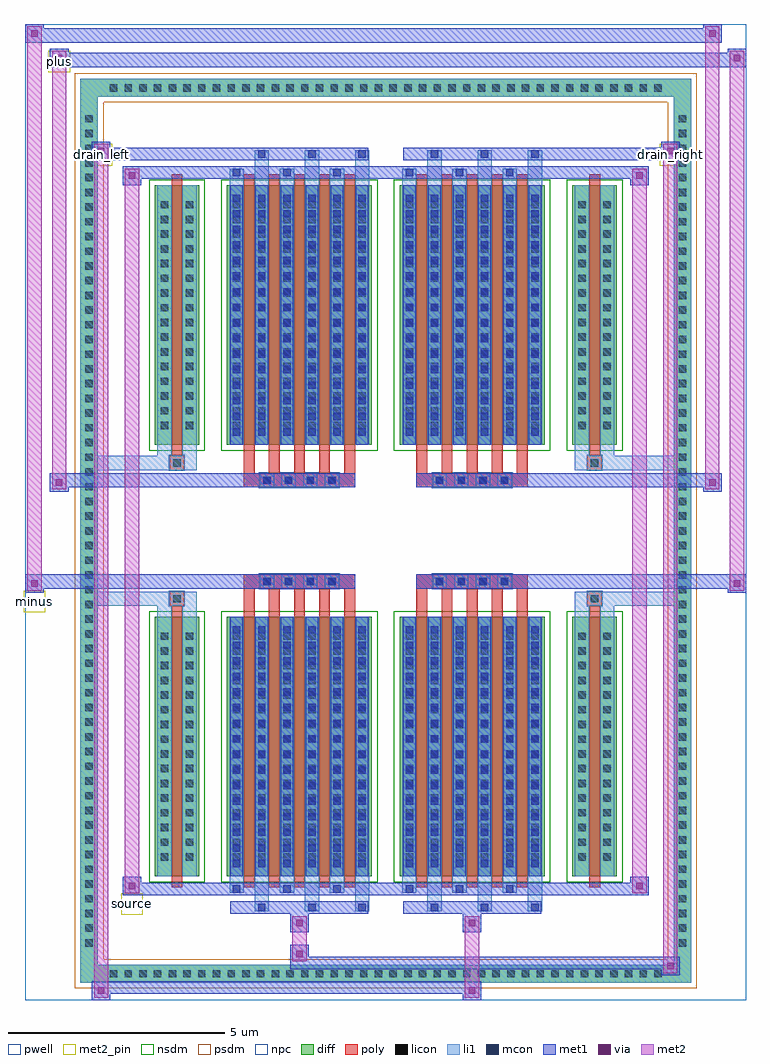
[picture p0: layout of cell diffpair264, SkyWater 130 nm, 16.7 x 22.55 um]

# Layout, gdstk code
import gdstk
lib = gdstk.Library(unit=1e-6, precision=5e-09)
def R(c, l, rs):  # rectangles x0, y0, x1, y1
    for r in rs: c.add(gdstk.rectangle(r[:2], r[2:], *l))
def A(c, l, x, y, w, h, nx, ny, dx, dy):  # array of equal rectangles
    R(c, l, [(x+i*dx, y+j*dy, x+i*dx+w, y+j*dy+h) for i in range(nx) for j in range(ny)])
def P(c, l, *ps):  # polygons
    for p in ps: c.add(gdstk.Polygon(p, *l))
pwell = (64, 44)
diff = (65, 20)
poly = (66, 20)
licon = (66, 44)
li1 = (67, 20)
mcon = (67, 44)
met1 = (68, 20)
via = (68, 44)
met2_pin = (69, 16)
met2 = (69, 20)
nsdm = (93, 44)
psdm = (94, 20)
npc = (95, 20)

diffpair264 = lib.new_cell('diffpair264')
R(diffpair264, pwell, [(-8.33,-10.84,8.33,11.71), (-5.65,-9.03,-0.01,-0.805), (0.01,-9.03,5.65,-0.805), (-5.65,0.805,-0.01,9.03), (0.01,0.805,5.65,9.03)])
A(diffpair264, diff, -6.495, -10.44, 0.41, 0.41, 38, 2, 0.34, 20.47)
A(diffpair264, diff, -7.06, -9.725, 0.41, 0.41, 1, 57, 0, 0.34)
A(diffpair264, diff, 6.65, -9.725, 0.41, 0.41, 1, 57, 0, 0.34)
R(diffpair264, diff, [(-6.495,-10.44,6.495,-10.03), (-7.06,-9.725,-6.65,9.725), (6.65,-9.725,7.06,9.725), (-5.34,-7.985,-4.31,-1.985), (-3.67,-7.985,-0.32,-1.985), (0.32,-7.985,3.67,-1.985), (4.31,-7.985,5.34,-1.985), (-5.34,1.985,-4.31,7.985), (-3.67,1.985,-0.32,7.985), (0.32,1.985,3.67,7.985), (4.31,1.985,5.34,7.985), (-6.495,10.03,6.495,10.44)])
P(diffpair264, diff, [(7.06,10.44),(-7.06,10.44),(-7.06,-10.03),(-6.65,-10.03),(-6.65,10.03),(6.65,10.03),(6.65,-10.03),(-6.65,-10.03),(-7.06,-10.03),(-7.06,-10.44),(7.06,-10.44)])
A(diffpair264, poly, -3.28, -8.235, 0.25, 6.5, 5, 2, 0.58, 9.97)
A(diffpair264, poly, 0.71, -8.235, 0.25, 6.5, 5, 2, 0.58, 9.97)
A(diffpair264, poly, -3.28, -1.735, 0.25, 0.4, 5, 2, 0.58, 3.07)
A(diffpair264, poly, 0.71, -1.735, 0.25, 0.4, 5, 2, 0.58, 3.07)
A(diffpair264, poly, -2.91, -1.335, 0.33, 0.33, 4, 2, 0.5, 2.34)
A(diffpair264, poly, 1.08, -1.335, 0.33, 0.33, 4, 2, 0.5, 2.34)
R(diffpair264, poly, [(-4.95,-8.235,-4.7,-1.735), (4.7,-8.235,4.95,-1.735), (-4.99,-1.735,-4.66,-1.405), (-4.99,-1.735,-4.66,-1.405), (4.66,-1.735,4.99,-1.405), (4.66,-1.735,4.99,-1.405), (-3.28,-1.335,-0.71,-1.005), (0.71,-1.335,3.28,-1.005), (-3.28,1.005,-0.71,1.335), (0.71,1.005,3.28,1.335), (-4.99,1.405,-4.66,1.735), (-4.99,1.405,-4.66,1.735), (4.66,1.405,4.99,1.735), (4.66,1.405,4.99,1.735), (-4.95,1.735,-4.7,8.235), (4.7,1.735,4.95,8.235)])
A(diffpair264, licon, -6.375, -10.32, 0.17, 0.17, 38, 2, 0.34, 20.47)
A(diffpair264, licon, -6.94, -9.605, 0.17, 0.17, 1, 57, 0, 0.34)
A(diffpair264, licon, 6.77, -9.605, 0.17, 0.17, 1, 57, 0, 0.34)
A(diffpair264, licon, -5.2, -7.62, 0.17, 0.17, 1, 16, 0, 0.34)
A(diffpair264, licon, -4.62, -7.62, 0.17, 0.17, 1, 16, 0, 0.34)
A(diffpair264, licon, -3.53, -7.62, 0.17, 0.17, 6, 16, 0.58, 0.34)
A(diffpair264, licon, 0.46, -7.62, 0.17, 0.17, 6, 16, 0.58, 0.34)
A(diffpair264, licon, 4.45, -7.62, 0.17, 0.17, 1, 16, 0, 0.34)
A(diffpair264, licon, 5.03, -7.62, 0.17, 0.17, 1, 16, 0, 0.34)
A(diffpair264, licon, -2.83, -1.255, 0.17, 0.17, 4, 2, 0.5, 2.34)
A(diffpair264, licon, 1.16, -1.255, 0.17, 0.17, 4, 2, 0.5, 2.34)
A(diffpair264, licon, -5.2, 2.35, 0.17, 0.17, 1, 16, 0, 0.34)
A(diffpair264, licon, -4.62, 2.35, 0.17, 0.17, 1, 16, 0, 0.34)
A(diffpair264, licon, -3.53, 2.35, 0.17, 0.17, 6, 16, 0.58, 0.34)
A(diffpair264, licon, 0.46, 2.35, 0.17, 0.17, 6, 16, 0.58, 0.34)
A(diffpair264, licon, 4.45, 2.35, 0.17, 0.17, 1, 16, 0, 0.34)
A(diffpair264, licon, 5.03, 2.35, 0.17, 0.17, 1, 16, 0, 0.34)
R(diffpair264, licon, [(-4.91,-1.655,-4.74,-1.485), (4.74,-1.655,4.91,-1.485), (-4.91,1.485,-4.74,1.655), (4.74,1.485,4.91,1.655)])
A(diffpair264, li1, -6.455, -10.4, 0.33, 0.33, 38, 2, 0.34, 20.47)
A(diffpair264, li1, -7.02, -9.685, 0.33, 0.33, 1, 57, 0, 0.34)
A(diffpair264, li1, 6.69, -9.685, 0.33, 0.33, 1, 57, 0, 0.34)
A(diffpair264, li1, -3.03, -8.79, 0.33, 0.805, 3, 2, 1.16, 16.775)
A(diffpair264, li1, -2.95, -8.79, 0.17, 0.17, 3, 2, 1.16, 17.41)
A(diffpair264, li1, 0.96, -8.79, 0.33, 0.805, 3, 2, 1.16, 16.775)
A(diffpair264, li1, 1.04, -8.79, 0.17, 0.17, 3, 2, 1.16, 17.41)
A(diffpair264, li1, -3.61, -8.36, 0.33, 0.375, 3, 2, 1.16, 16.345)
A(diffpair264, li1, -3.53, -8.36, 0.17, 0.17, 3, 2, 1.16, 16.55)
A(diffpair264, li1, 0.38, -8.36, 0.33, 0.375, 3, 2, 1.16, 16.345)
A(diffpair264, li1, 0.46, -8.36, 0.17, 0.17, 3, 2, 1.16, 16.55)
A(diffpair264, li1, -3.61, -7.985, 0.33, 6, 6, 2, 0.58, 9.97)
A(diffpair264, li1, 0.38, -7.985, 0.33, 6, 6, 2, 0.58, 9.97)
A(diffpair264, li1, -3.53, -7.77, 0.17, 0.17, 6, 16, 0.58, 0.36)
A(diffpair264, li1, -3.53, -7.77, 0.17, 5.57, 6, 2, 0.58, 9.97)
A(diffpair264, li1, 0.46, -7.77, 0.17, 0.17, 6, 16, 0.58, 0.36)
A(diffpair264, li1, 0.46, -7.77, 0.17, 5.57, 6, 2, 0.58, 9.97)
A(diffpair264, li1, -5.28, -7.7, 0.33, 0.33, 1, 16, 0, 0.34)
A(diffpair264, li1, -4.7, -7.7, 0.33, 0.33, 1, 16, 0, 0.34)
A(diffpair264, li1, -3.61, -7.7, 0.33, 0.33, 6, 16, 0.58, 0.34)
A(diffpair264, li1, 0.38, -7.7, 0.33, 0.33, 6, 16, 0.58, 0.34)
A(diffpair264, li1, 4.37, -7.7, 0.33, 0.33, 1, 16, 0, 0.34)
A(diffpair264, li1, 4.95, -7.7, 0.33, 0.33, 1, 16, 0, 0.34)
A(diffpair264, li1, -2.91, -1.335, 0.33, 0.33, 4, 2, 0.5, 2.34)
A(diffpair264, li1, 1.08, -1.335, 0.33, 0.33, 4, 2, 0.5, 2.34)
A(diffpair264, li1, -3.53, 2.2, 0.17, 0.17, 6, 16, 0.58, 0.36)
A(diffpair264, li1, 0.46, 2.2, 0.17, 0.17, 6, 16, 0.58, 0.36)
A(diffpair264, li1, -5.28, 2.27, 0.33, 0.33, 1, 16, 0, 0.34)
A(diffpair264, li1, -4.7, 2.27, 0.33, 0.33, 1, 16, 0, 0.34)
A(diffpair264, li1, -3.61, 2.27, 0.33, 0.33, 6, 16, 0.58, 0.34)
A(diffpair264, li1, 0.38, 2.27, 0.33, 0.33, 6, 16, 0.58, 0.34)
A(diffpair264, li1, 4.37, 2.27, 0.33, 0.33, 1, 16, 0, 0.34)
A(diffpair264, li1, 4.95, 2.27, 0.33, 0.33, 1, 16, 0, 0.34)
R(diffpair264, li1, [(-7.06,-10.44,-6.65,-10.03), (-7.06,-10.44,-6.65,-10.03), (-6.65,-10.44,6.65,-10.03), (6.65,-10.44,7.06,-10.03), (6.65,-10.44,7.06,-10.03), (-7.06,-10.03,-6.65,10.03), (6.65,-10.03,7.06,10.03), (-5.28,-7.985,-4.95,-1.985), (-4.7,-7.985,-4.37,-1.985), (4.37,-7.985,4.7,-1.985), (4.95,-7.985,5.28,-1.985), (-5.28,-1.985,-4.95,-1.405), (-4.7,-1.985,-4.37,-1.405), (4.37,-1.985,4.7,-1.405), (4.95,-1.985,5.28,-1.405), (-7.06,-1.735,-4.99,-1.405), (-5.28,-1.735,-4.99,-1.405), (-4.99,-1.735,-4.66,-1.405), (-4.66,-1.735,-4.37,-1.405), (4.37,-1.735,4.66,-1.405), (4.66,-1.735,4.99,-1.405), (4.66,-1.735,7.06,-1.405), (4.99,-1.735,5.28,-1.405), (-7.06,1.405,-4.99,1.735), (-5.28,1.405,-4.99,1.735), (-5.28,1.405,-4.95,1.985), (-4.99,1.405,-4.66,1.735), (-4.7,1.405,-4.37,1.985), (-4.66,1.405,-4.37,1.735), (4.37,1.405,4.66,1.735), (4.37,1.405,4.7,1.985), (4.66,1.405,4.99,1.735), (4.66,1.405,7.06,1.735), (4.95,1.405,5.28,1.985), (4.99,1.405,5.28,1.735), (-5.28,1.985,-4.95,7.985), (-4.7,1.985,-4.37,7.985), (4.37,1.985,4.7,7.985), (4.95,1.985,5.28,7.985), (-7.06,10.03,-6.65,10.44), (-7.06,10.03,-6.65,10.44), (-6.65,10.03,6.65,10.44), (6.65,10.03,7.06,10.44), (6.65,10.03,7.06,10.44)])
A(diffpair264, mcon, -2.95, -8.79, 0.17, 0.17, 3, 2, 1.16, 17.41)
A(diffpair264, mcon, 1.04, -8.79, 0.17, 0.17, 3, 2, 1.16, 17.41)
A(diffpair264, mcon, -3.53, -8.36, 0.17, 0.17, 3, 2, 1.16, 16.55)
A(diffpair264, mcon, 0.46, -8.36, 0.17, 0.17, 3, 2, 1.16, 16.55)
A(diffpair264, mcon, -3.53, -7.77, 0.17, 0.17, 6, 16, 0.58, 0.36)
A(diffpair264, mcon, 0.46, -7.77, 0.17, 0.17, 6, 16, 0.58, 0.36)
A(diffpair264, mcon, -2.83, -1.255, 0.17, 0.17, 4, 2, 0.5, 2.34)
A(diffpair264, mcon, 1.16, -1.255, 0.17, 0.17, 4, 2, 0.5, 2.34)
A(diffpair264, mcon, -3.53, 2.2, 0.17, 0.17, 6, 16, 0.58, 0.36)
A(diffpair264, mcon, 0.46, 2.2, 0.17, 0.17, 6, 16, 0.58, 0.36)
A(diffpair264, met1, -3.01, -8.85, 0.29, 0.29, 3, 2, 1.16, 17.41)
A(diffpair264, met1, 0.98, -8.85, 0.29, 0.29, 3, 2, 1.16, 17.41)
A(diffpair264, met1, -3.59, -8.42, 0.29, 0.29, 3, 2, 1.16, 16.55)
A(diffpair264, met1, 0.4, -8.42, 0.29, 0.29, 3, 2, 1.16, 16.55)
A(diffpair264, met1, -3.59, -7.985, 0.29, 6, 6, 2, 0.58, 9.97)
A(diffpair264, met1, 0.4, -7.985, 0.29, 6, 6, 2, 0.58, 9.97)
A(diffpair264, met1, -3.59, -7.83, 0.29, 0.29, 6, 16, 0.58, 0.36)
A(diffpair264, met1, 0.4, -7.83, 0.29, 0.29, 6, 16, 0.58, 0.36)
A(diffpair264, met1, -2.89, -1.315, 0.29, 0.29, 4, 2, 0.5, 2.34)
A(diffpair264, met1, 1.1, -1.315, 0.29, 0.29, 4, 2, 0.5, 2.34)
A(diffpair264, met1, -3.59, 2.14, 0.29, 0.29, 6, 16, 0.58, 0.36)
A(diffpair264, met1, 0.4, 2.14, 0.29, 0.29, 6, 16, 0.58, 0.36)
R(diffpair264, met1, [(-6.79,-10.84,-6.36,-10.41), (1.78,-10.84,2.21,-10.41), (-6.79,-10.7,2.21,-10.41), (6.36,-10.27,6.79,-9.84), (-2.21,-10.13,6.79,-9.84), (-2.21,-9.99,-1.78,-9.56), (-2.21,-9.28,-1.78,-8.85), (1.78,-9.28,2.21,-8.85), (-3.59,-8.85,-0.4,-8.56), (0.4,-8.85,3.59,-8.56), (-6.08,-8.42,-5.65,-7.99), (-6.08,-8.42,-3.59,-8.13), (-3.59,-8.42,-0.4,-8.13), (-0.4,-8.42,0.4,-8.13), (0.4,-8.42,3.59,-8.13), (3.59,-8.42,6.08,-8.13), (5.65,-8.42,6.08,-7.99), (-8.33,-1.435,-7.9,-1.005), (7.9,-1.435,8.33,-1.005), (-8.33,-1.335,-0.71,-1.005), (-3.28,-1.335,-0.71,-1.005), (0.71,-1.335,3.28,-1.005), (0.71,-1.335,8.33,-1.005), (-7.76,0.905,-7.33,1.335), (7.33,0.905,7.76,1.335), (-7.76,1.005,-3.28,1.335), (-3.28,1.005,-0.71,1.335), (0.71,1.005,3.28,1.335), (3.28,1.005,7.76,1.335), (-6.08,7.99,-5.65,8.42), (5.65,7.99,6.08,8.42), (-6.08,8.13,-3.59,8.42), (-3.59,8.13,-0.4,8.42), (-0.4,8.13,0.4,8.42), (0.4,8.13,3.59,8.42), (3.59,8.13,6.08,8.42), (-6.79,8.56,-6.36,8.99), (-6.79,8.56,-3.59,8.85), (-3.59,8.56,-0.4,8.85), (0.4,8.56,3.59,8.85), (3.59,8.56,6.79,8.85), (6.36,8.56,6.79,8.99), (-7.76,10.71,-7.33,11.14), (-7.76,10.71,-5.65,11.04), (-5.65,10.71,5.65,11.04), (5.65,10.71,8.33,11.04), (7.9,10.71,8.33,11.14), (-8.33,11.28,-7.9,11.71), (-8.33,11.28,-5.65,11.61), (-5.65,11.28,5.65,11.61), (5.65,11.28,7.76,11.61), (7.33,11.28,7.76,11.71)])
R(diffpair264, via, [(-6.65,-10.7,-6.5,-10.55), (1.92,-10.7,2.07,-10.55), (6.5,-10.13,6.65,-9.98), (-2.07,-9.85,-1.92,-9.7), (-2.07,-9.14,-1.92,-8.99), (1.92,-9.14,2.07,-8.99), (-5.94,-8.28,-5.79,-8.13), (5.79,-8.28,5.94,-8.13), (-8.19,-1.295,-8.04,-1.145), (8.04,-1.295,8.19,-1.145), (-7.62,1.045,-7.47,1.195), (7.47,1.045,7.62,1.195), (-5.94,8.13,-5.79,8.28), (5.79,8.13,5.94,8.28), (-6.65,8.7,-6.5,8.85), (6.5,8.7,6.65,8.85), (-7.62,10.85,-7.47,11), (8.04,10.85,8.19,11), (-8.19,11.42,-8.04,11.57), (7.47,11.42,7.62,11.57)])
R(diffpair264, met2_pin, [(-6.115,-8.87,-5.615,-8.37), (-8.365,-1.885,-7.865,-1.385), (-6.825,8.44,-6.325,8.94), (6.325,8.44,6.825,8.94), (-7.795,10.59,-7.295,11.09)])
R(diffpair264, met2, [(-6.74,-10.79,-6.41,-10.46), (-6.74,-10.79,-6.41,8.94), (1.83,-10.79,2.16,-10.46), (1.83,-10.46,2.16,-9.23), (6.41,-10.22,6.74,-9.89), (6.41,-10.22,6.74,8.94), (-2.16,-9.94,-1.83,-9.61), (-2.16,-9.61,-1.83,-9.23), (-2.16,-9.23,-1.83,-8.9), (1.83,-9.23,2.16,-8.9), (-6.03,-8.37,-5.7,-8.04), (-6.03,-8.37,-5.7,8.37), (5.7,-8.37,6.03,-8.04), (5.7,-8.37,6.03,8.37), (-8.28,-1.385,-7.95,-1.055), (-8.28,-1.385,-7.95,11.66), (7.95,-1.385,8.28,-1.055), (7.95,-1.385,8.28,11.09), (-7.71,0.955,-7.38,1.285), (-7.71,0.955,-7.38,11.09), (7.38,0.955,7.71,1.285), (7.38,0.955,7.71,11.66), (-6.03,8.04,-5.7,8.37), (5.7,8.04,6.03,8.37), (-6.74,8.61,-6.41,8.94), (6.41,8.61,6.74,8.94), (-7.71,10.76,-7.38,11.09), (7.95,10.76,8.28,11.09), (-8.28,11.33,-7.95,11.66), (7.38,11.33,7.71,11.66)])
P(diffpair264, met2, [(8.28,-1.385),(8.28,-1.385),(8.28,-1.055),(8.28,-1.055)],
  [(8.28,10.76),(8.28,10.76),(8.28,11.09),(8.28,11.09)],
  [(-7.95,-1.385),(-7.95,-1.385),(-7.95,-1.055),(-7.95,-1.055)],
  [(-7.95,11.33),(-7.95,11.33),(-7.95,11.66),(-7.95,11.66)],
  [(7.71,0.955),(7.71,0.955),(7.71,1.285),(7.71,1.285)],
  [(7.71,11.33),(7.71,11.33),(7.71,11.66),(7.71,11.66)],
  [(-7.38,0.955),(-7.38,0.955),(-7.38,1.285),(-7.38,1.285)],
  [(-7.38,10.76),(-7.38,10.76),(-7.38,11.09),(-7.38,11.09)],
  [(-6.41,-10.79),(-6.41,-10.79),(-6.41,-10.46),(-6.41,-10.46)],
  [(-6.41,8.61),(-6.41,8.61),(-6.41,8.94),(-6.41,8.94)],
  [(6.74,-10.22),(6.74,-10.22),(6.74,-9.89),(6.74,-9.89)],
  [(6.74,8.61),(6.74,8.61),(6.74,8.94),(6.74,8.94)],
  [(-5.7,-8.37),(-5.7,-8.37),(-5.7,-8.04),(-5.7,-8.04)],
  [(-5.7,8.04),(-5.7,8.04),(-5.7,8.37),(-5.7,8.37)],
  [(6.03,-8.37),(6.03,-8.37),(6.03,-8.04),(6.03,-8.04)],
  [(6.03,8.04),(6.03,8.04),(6.03,8.37),(6.03,8.37)])
R(diffpair264, nsdm, [(-5.47,-8.115,-4.18,-1.855), (-3.8,-8.115,-0.19,-1.855), (0.19,-8.115,3.8,-1.855), (4.18,-8.115,5.47,-1.855), (-5.47,1.855,-4.18,8.115), (-3.8,1.855,-0.19,8.115), (0.19,1.855,3.8,8.115), (4.18,1.855,5.47,8.115)])
P(diffpair264, psdm, [(7.19,10.57),(-7.19,10.57),(-7.19,-9.9),(-6.52,-9.9),(-6.52,9.9),(6.52,9.9),(6.52,-9.9),(-6.52,-9.9),(-7.19,-9.9),(-7.19,-10.57),(7.19,-10.57)])
A(diffpair264, npc, -2.93, -1.355, 0.37, 0.37, 4, 2, 0.5, 2.34)
A(diffpair264, npc, 1.06, -1.355, 0.37, 0.37, 4, 2, 0.5, 2.34)
R(diffpair264, npc, [(-5.01,-1.755,-4.64,-1.385), (4.64,-1.755,5.01,-1.385), (-2.93,-1.355,-2.06,-0.985), (-2.93,-1.355,-2.06,-0.985), (-2.43,-1.355,-1.56,-0.985), (-2.43,-1.355,-1.56,-0.985), (-1.93,-1.355,-1.06,-0.985), (-1.93,-1.355,-1.06,-0.985), (1.06,-1.355,1.93,-0.985), (1.06,-1.355,1.93,-0.985), (1.56,-1.355,2.43,-0.985), (1.56,-1.355,2.43,-0.985), (2.06,-1.355,2.93,-0.985), (2.06,-1.355,2.93,-0.985), (-2.93,0.985,-2.06,1.355), (-2.93,0.985,-2.06,1.355), (-2.43,0.985,-1.56,1.355), (-2.43,0.985,-1.56,1.355), (-1.93,0.985,-1.06,1.355), (-1.93,0.985,-1.06,1.355), (1.06,0.985,1.93,1.355), (1.06,0.985,1.93,1.355), (1.56,0.985,2.43,1.355), (1.56,0.985,2.43,1.355), (2.06,0.985,2.93,1.355), (2.06,0.985,2.93,1.355), (-5.01,1.385,-4.64,1.755), (4.64,1.385,5.01,1.755)])
diffpair264.add(gdstk.Label('minus', (-8.115,-1.635), layer=69, texttype=5))
diffpair264.add(gdstk.Label('drain_right', (6.575,8.69), layer=69, texttype=5))
diffpair264.add(gdstk.Label('drain_left', (-6.575,8.69), layer=69, texttype=5))
diffpair264.add(gdstk.Label('source', (-5.865,-8.62), layer=69, texttype=5))
diffpair264.add(gdstk.Label('plus', (-7.545,10.84), layer=69, texttype=5))

lib.write_gds('diffpair264.gds')
